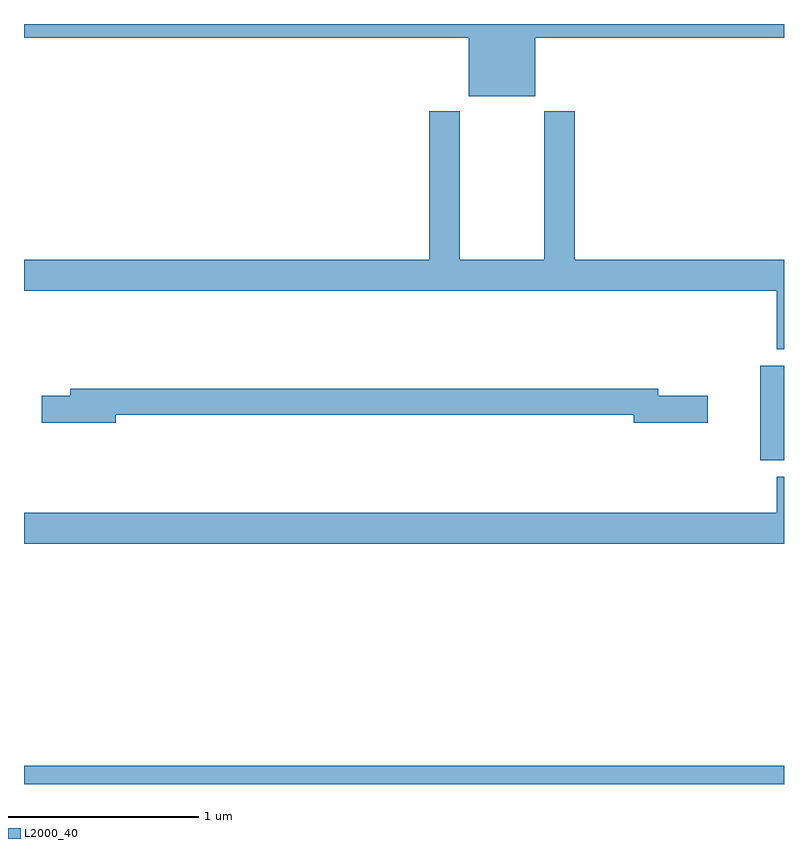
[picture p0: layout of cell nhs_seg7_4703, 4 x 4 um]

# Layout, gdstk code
import gdstk
lib = gdstk.Library(unit=1e-6, precision=1e-09)
def R(c, l, rs):  # rectangles x0, y0, x1, y1
    for r in rs: c.add(gdstk.rectangle(r[:2], r[2:], *l))
def P(c, l, *ps):  # polygons
    for p in ps: c.add(gdstk.Polygon(p, *l))
L2000_40 = (2000, 40)

nhs_seg7_4703 = lib.new_cell('nhs_seg7_4703')
R(nhs_seg7_4703, L2000_40, [(407,1018,411,1018.096), (410.876,1019.703,411,1020.202)])
P(nhs_seg7_4703, L2000_40, [(409.69,1021.928),(411,1021.928),(411,1022),(407,1022),(407,1021.928),(409.34,1021.928),(409.34,1021.619),(409.69,1021.619)],
  [(409.738,1021.54),(409.738,1020.76),(409.293,1020.76),(409.293,1021.54),(409.133,1021.54),(409.133,1020.76),(407,1020.76),(407,1020.596),(410.963,1020.596),(410.963,1020.287),(411,1020.287),(411,1020.76),(409.898,1020.76),(409.898,1021.54)],
  [(407.482,1019.944),(410.21,1019.944),(410.21,1019.902),(410.599,1019.902),(410.599,1020.044),(410.338,1020.044),(410.338,1020.08),(407.243,1020.08),(407.243,1020.044),(407.094,1020.044),(407.094,1019.902),(407.482,1019.902)],
  [(411,1019.618),(410.963,1019.618),(410.963,1019.428),(407,1019.428),(407,1019.264),(411,1019.264)])

lib.write_gds('nhs_seg7_4703.gds')
